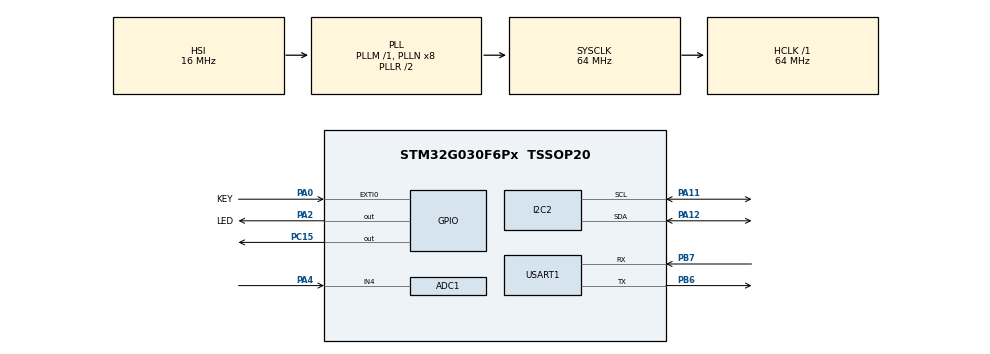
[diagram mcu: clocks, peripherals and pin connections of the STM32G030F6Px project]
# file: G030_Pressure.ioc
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ADC1.Channel-1\#ChannelRegularConversion=ADC_CHANNEL_4
ADC1.ContinuousConvMode=ENABLE
ADC1.DMAContinuousRequests=ENABLE
ADC1.NbrOfConversionFlag=1
ADC1.Rank-1\#ChannelRegularConversion=1
ADC1.SamplingTime-1\#ChannelRegularConversion=ADC_SAMPLINGTIME_COMMON_1
ADC1.SelectedChannel=ADC_CHANNEL_4
ADC1.master=1
Dma.ADC1.0.Direction=DMA_PERIPH_TO_MEMORY
Dma.ADC1.0.EventEnable=DISABLE
Dma.ADC1.0.Instance=DMA1_Channel1
Dma.ADC1.0.MemDataAlignment=DMA_MDATAALIGN_WORD
Dma.ADC1.0.MemInc=DMA_MINC_ENABLE
Dma.ADC1.0.Mode=DMA_CIRCULAR
Dma.ADC1.0.PeriphDataAlignment=DMA_PDATAALIGN_WORD
Dma.ADC1.0.PeriphInc=DMA_PINC_DISABLE
Dma.ADC1.0.Polarity=HAL_DMAMUX_REQ_GEN_RISING
Dma.ADC1.0.Priority=DMA_PRIORITY_LOW
Dma.ADC1.0.RequestNumber=1
Dma.ADC1.0.SignalID=NONE
Dma.ADC1.0.SyncEnable=DISABLE
Dma.ADC1.0.SyncPolarity=HAL_DMAMUX_SYNC_NO_EVENT
Dma.ADC1.0.SyncRequestNumber=1
Dma.ADC1.0.SyncSignalID=NONE
Dma.Request0=ADC1
I2C2.Timing=0x10707DBC
Mcu.Family=STM32G0
Mcu.Name=STM32G030F6Px
Mcu.Package=TSSOP20
NVIC.DMA1_Channel1_IRQn=true\:0\:0\:false\:false\:true\:false\:true\:true
NVIC.EXTI0_1_IRQn=true\:0\:0\:false\:false\:true\:true\:true\:true
NVIC.TIM1_BRK_UP_TRG_COM_IRQn=true\:0\:0\:false\:false\:true\:true\:true\:true
NVIC.TIM3_IRQn=true\:0\:0\:false\:false\:true\:true\:true\:true
PA0.GPIO_Label=KEY
PA0.GPIO_ModeDefaultEXTI=GPIO_MODE_IT_RISING_FALLING
PA0.GPIO_PuPd=GPIO_PULLUP
PA0.Signal=GPXTI0
PA11\ [PA9].Mode=I2C
PA11\ [PA9].Signal=I2C2_SCL
PA12\ [PA10].Mode=I2C
PA12\ [PA10].Signal=I2C2_SDA
PA13.Mode=Serial_Wire
PA13.Signal=SYS_SWDIO
PA14-BOOT0.Mode=Serial_Wire
PA14-BOOT0.Signal=SYS_SWCLK
PA14-BOOT0__PA15.StandardMode=true
PA2.GPIO_Label=LED
PA2.Signal=GPIO_Output
PA4.Mode=IN4
PA4.Signal=ADC1_IN4
PB0__PB1__PB2__PA8.StandardMode=true
PB3__PB4__PB5__PB6.StandardMode=true
PB6.Mode=Asynchronous
PB6.Signal=USART1_TX
PB7.Mode=Asynchronous
PB7.Signal=USART1_RX
PB7__PB8.StandardMode=true
PC14-OSC32_IN\ (PC14)__PB9.StandardMode=true
PC15-OSC32_OUT\ (PC15).GPIO_PuPd=GPIO_PULLDOWN
PC15-OSC32_OUT\ (PC15).PinState=GPIO_PIN_RESET
PC15-OSC32_OUT\ (PC15).Signal=GPIO_Output
ProjectManager.HeapSize=0x200
ProjectManager.StackSize=0x400
ProjectManager.TargetToolchain=STM32CubeIDE
RCC.ADCFreq_Value=64000000
RCC.AHBFreq_Value=64000000
RCC.CortexFreq_Value=64000000
RCC.EXTERNAL_CLOCK_VALUE=12288000
RCC.HCLKFreq_Value=64000000
RCC.HSE_VALUE=8000000
RCC.HSI_VALUE=16000000
RCC.LSE_VALUE=32768
RCC.SYSCLKFreq_VALUE=64000000
RCC.SYSCLKSource=RCC_SYSCLKSOURCE_PLLCLK
RCC.VCOOutputFreq_Value=128000000
TIM1.AutoReloadPreload=TIM_AUTORELOAD_PRELOAD_ENABLE
TIM1.Period=63
TIM1.Prescaler=9999
TIM3.AutoReloadPreload=TIM_AUTORELOAD_PRELOAD_ENABLE
TIM3.Period=1299
TIM3.Prescaler=9999
USART1.VirtualMode-Asynchronous=VM_ASYNC
VP_TIM1_VS_ClockSourceINT.Mode=Internal
VP_TIM3_VS_ClockSourceINT.Mode=Internal
board=custom

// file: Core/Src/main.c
/* USER CODE BEGIN Header */
/**
  ******************************************************************************
  * @file           : main.c
  * @brief          : Main program body
  ******************************************************************************
  * @attention
  *
  * Copyright (c) 2023 STMicroelectronics.
  * All rights reserved.
  *
  * This software is licensed under terms that can be found in the LICENSE file
  * in the root directory of this software component.
  * If no LICENSE file comes with this software, it is provided AS-IS.
  *
  ******************************************************************************
  */
/* USER CODE END Header */
#include "main.h"
#include "adc.h"
#include "dma.h"
#include "i2c.h"
#include "tim.h"
#include "usart.h"
#include "gpio.h"

/* USER CODE BEGIN Includes */
#include "tiny_lcd.h"
#include "it_manager.h"
#include "printf.h"
#include "pressure.h"
/* USER CODE END Includes */

/* USER CODE BEGIN PM */
#define TensVal (-4.5)
#define RlxVal  (-6.5)
#define ThVal   (-2)
/* USER CODE END PM */

/* USER CODE BEGIN PV */
Prs_HandleTypeDef Pressure;
extern uint8_t backlightval;
uint8_t recordFlag = 0;
/* USER CODE END PV */

void SystemClock_Config(void);

/* USER CODE BEGIN 0 */
Prs_HandleTypeDef prsList = {.length = MAXSIZE};
double currentPrs = 0.0;

/**
 * @brief 滴答数，通过startTick和endTick的差值（时间长短）来判断肌肉的紧张程度
 */
uint32_t startTick = 0;
uint32_t endTick = 0;

/**
 * @brief 计时的标志位
 */
uint8_t endFlag = RESET;
uint8_t startFlag = SET;

/**
 * @brief 计数的气压终值（气压达到该值时，停止计时并显示肌肉紧张程度）,终值需要添加负号(即，-endVal)
 */
uint8_t endTim = 5; // 计时时间
/* USER CODE END 0 */

int main(void)
{

  /* MCU Configuration--------------------------------------------------------*/

  /* Reset of all peripherals, Initializes the Flash interface and the Systick. */
  HAL_Init();

  /* Configure the system clock */
  SystemClock_Config();

  /* Initialize all configured peripherals */
  MX_GPIO_Init();
  MX_DMA_Init();
  MX_ADC1_Init();
  MX_TIM1_Init();
  MX_TIM3_Init();
  MX_I2C2_Init();
  MX_USART1_UART_Init();
  /* USER CODE BEGIN 2 */
    HAL_TIM_Base_Start_IT(&htim1);
    HAL_TIM_Base_Start_IT(&htim3);
    init_print(&huart1); // 重定向printf()
    printf("%s\r\n", "printf retargeted!");
    pressure_init(&hadc1, &prsList);
    println("pressure init");
    lcd_init();
    lcd_print_frame(); // 打印UI框架
  /* USER CODE END 2 */

  /* Infinite loop */
  /* USER CODE BEGIN WHILE */
  while (1)
  {
      // Tim1 每10ms触发1次（相当于每10ms采样1次气压值）
      if(Timer_State.Timer1){
          currentPrs = get_pressure();
          if((currentPrs < -0.3) && startFlag) { // 自动测量的触发条件
              startTick = HAL_GetTick();
              char str[CVT_BUFFER];
              bon_ftos(str, currentPrs, 1);
              printf("prs: %skPa\r\n", str);
              printf("startTick: %d\r\n", startTick);
              lcd_display_sta(MEASURE); // 显示“开始测量”状态
              startFlag = RESET;
              endFlag = SET;
          }else if(endFlag){ // 开始倒计时
              endTick = HAL_GetTick();
              if((endTick-startTick) >= (endTim*1000)){
                  if(currentPrs <= RlxVal) { lcd_display_sta_b(RELAX); }
                  else if((currentPrs >= TensVal)&&(currentPrs < ThVal)) { lcd_display_sta_b(TENSION); }
                  else if((currentPrs > RlxVal)&&(currentPrs < TensVal)) { lcd_display_sta_b(NORMAL); }
                  else { lcd_display_sta_b(INVALID); }
                  endFlag = RESET;
                  while((get_pressure() < -0.2) && !(GPIO_State.KEY1)){} // 屏幕暂停
              }
          }else if((currentPrs > -0.2) && !(startFlag)){
              lcd_display_sta(READY); // 重置肌肉状态
              startFlag = SET;
              endFlag = RESET;
          }
          Timer_State.Timer1 = RESET;
      }

      // tim3 每250ms触发1次，刷新LCD
      if(Timer_State.Timer3){
          HAL_GPIO_TogglePin(LED_GPIO_Port, LED_Pin); // 闪烁LED
//          lcd_print_val((currentPrs >= -0.2) ? 0:currentPrs);
          lcd_print_val(currentPrs);
          Timer_State.Timer3 = RESET;
      }

      /**
       * @brief 按下按键进入该函数，若在两秒内再次按下按键，则变量endVal自增5.
       */
      if(GPIO_State.KEY1){
          HAL_GPIO_WritePin(LED_GPIO_Port, LED_Pin, GPIO_PIN_RESET);

          // 刷新LCD上的endVal
          lcd_setCursor(0, 1);
          lcd_printf("UP:%2d", endTim);
          lcd_setCursor(4, 1);
          lcd_sendCmd(LCD_DISPLAYCONTROL | LCD_DISPLAYON | LCD_CURSORON | LCD_BLINKON); // 显示光标

          uint32_t uiTick = HAL_GetTick(); // 用来检测按键超时
          GPIO_State.KEY1 = RESET;
          while(1){
              if((HAL_GetTick()-uiTick) > 2000) { break; } // 检测按键是否超时（2s），在该时间内按下按键会刷新uiTick的值
              else if(GPIO_State.KEY1 == SET){ // 按下按键
                  // 自增endTim
                  if(endTim>=15) { endTim = 5; } // 大于90后，重置为30.
                  else { endTim += 5; }
//                  endTim = (endTim+5) % 15;
                  // 刷新LCD上的endVal
                  lcd_setCursor(0, 1);
                  lcd_printf("UP:%2d", endTim);
                  lcd_setCursor(4, 1);
                  uiTick = HAL_GetTick(); // 两秒内按下按键，则刷新uiTick值。
                  GPIO_State.KEY1 = RESET;
              }
          }
          lcd_sendCmd(LCD_DISPLAYCONTROL | LCD_DISPLAYON | LCD_CURSOROFF | LCD_BLINKOFF);
      }

    /* USER CODE END WHILE */

  }
}

void SystemClock_Config(void)
{
  RCC_OscInitTypeDef RCC_OscInitStruct = {0};
  RCC_ClkInitTypeDef RCC_ClkInitStruct = {0};

  /** Configure the main internal regulator output voltage
  */
  HAL_PWREx_ControlVoltageScaling(PWR_REGULATOR_VOLTAGE_SCALE1);

  /** Initializes the RCC Oscillators according to the specified parameters
  * in the RCC_OscInitTypeDef structure.
  */
  RCC_OscInitStruct.OscillatorType = RCC_OSCILLATORTYPE_HSI;
  RCC_OscInitStruct.HSIState = RCC_HSI_ON;
  RCC_OscInitStruct.HSIDiv = RCC_HSI_DIV1;
  RCC_OscInitStruct.HSICalibrationValue = RCC_HSICALIBRATION_DEFAULT;
  RCC_OscInitStruct.PLL.PLLState = RCC_PLL_ON;
  RCC_OscInitStruct.PLL.PLLSource = RCC_PLLSOURCE_HSI;
  RCC_OscInitStruct.PLL.PLLM = RCC_PLLM_DIV1;
  RCC_OscInitStruct.PLL.PLLN = 8;
  RCC_OscInitStruct.PLL.PLLP = RCC_PLLP_DIV2;
  RCC_OscInitStruct.PLL.PLLR = RCC_PLLR_DIV2;
  if (HAL_RCC_OscConfig(&RCC_OscInitStruct) != HAL_OK)
  {
    Error_Handler();
  }

  /** Initializes the CPU, AHB and APB buses clocks
  */
  RCC_ClkInitStruct.ClockType = RCC_CLOCKTYPE_HCLK|RCC_CLOCKTYPE_SYSCLK
                              |RCC_CLOCKTYPE_PCLK1;
  RCC_ClkInitStruct.SYSCLKSource = RCC_SYSCLKSOURCE_PLLCLK;
  RCC_ClkInitStruct.AHBCLKDivider = RCC_SYSCLK_DIV1;
  RCC_ClkInitStruct.APB1CLKDivider = RCC_HCLK_DIV1;

  if (HAL_RCC_ClockConfig(&RCC_ClkInitStruct, FLASH_LATENCY_2) != HAL_OK)
  {
    Error_Handler();
  }
}

void Error_Handler(void)
{
  __disable_irq();
  while (1)
  {
  }
}
